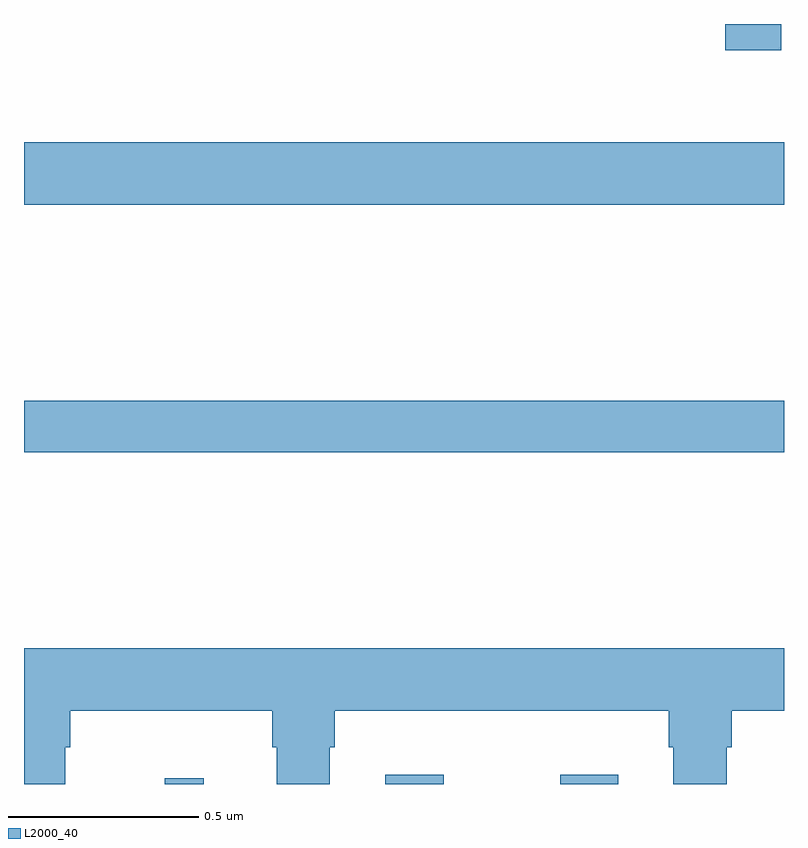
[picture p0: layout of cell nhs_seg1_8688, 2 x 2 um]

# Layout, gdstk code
import gdstk
lib = gdstk.Library(unit=1e-6, precision=1e-09)
def R(c, l, rs):  # rectangles x0, y0, x1, y1
    for r in rs: c.add(gdstk.rectangle(r[:2], r[2:], *l))
def P(c, l, *ps):  # polygons
    for p in ps: c.add(gdstk.Polygon(p, *l))
L2000_40 = (2000, 40)

nhs_seg1_8688 = lib.new_cell('nhs_seg1_8688')
R(nhs_seg1_8688, L2000_40, [(219.37,558.199,219.473,558.214), (219.95,558.199,220.104,558.223), (220.411,558.199,220.564,558.223), (219,559.072,221,559.208), (219,559.724,221,559.888), (220.845,560.13,220.993,560.199)])
P(nhs_seg1_8688, L2000_40, [(219.109,558.296),(219.122,558.296),(219.122,558.392),(219.653,558.392),(219.653,558.296),(219.665,558.296),(219.665,558.199),(219.805,558.199),(219.805,558.296),(219.818,558.296),(219.818,558.392),(220.697,558.392),(220.697,558.296),(220.709,558.296),(220.709,558.199),(220.849,558.199),(220.849,558.296),(220.862,558.296),(220.862,558.392),(221,558.392),(221,558.556),(219,558.556),(219,558.199),(219.109,558.199)])

lib.write_gds('nhs_seg1_8688.gds')
